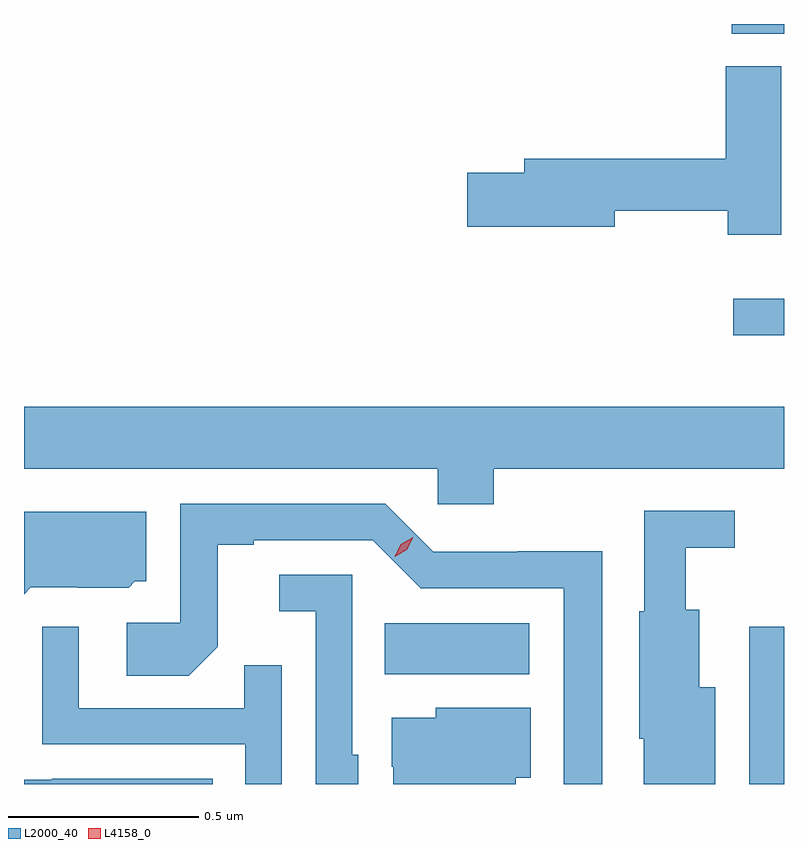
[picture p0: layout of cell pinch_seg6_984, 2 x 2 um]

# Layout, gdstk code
import gdstk
lib = gdstk.Library(unit=1e-6, precision=1e-09)
def R(c, l, rs):  # rectangles x0, y0, x1, y1
    for r in rs: c.add(gdstk.rectangle(r[:2], r[2:], *l))
def P(c, l, *ps):  # polygons
    for p in ps: c.add(gdstk.Polygon(p, *l))
L2000_40 = (2000, 40)
L4158_0 = (4158, 0)

pinch_seg6_984 = lib.new_cell('pinch_seg6_984')
R(pinch_seg6_984, L2000_40, [(330.357,925.195,330.449,925.609), (329.398,925.484,329.779,925.618), (330.315,926.376,330.449,926.472), (330.311,927.169,330.449,927.195)])
P(pinch_seg6_984, L2000_40, [(330.442,927.084),(330.296,927.084),(330.296,926.84),(329.765,926.84),(329.765,926.804),(329.616,926.804),(329.616,926.662),(330.004,926.662),(330.004,926.704),(330.301,926.704),(330.301,926.64),(330.442,926.64)],
  [(329.685,926.024),(330.449,926.024),(330.449,926.188),(328.449,926.188),(328.449,926.024),(329.538,926.024),(329.538,925.931),(329.685,925.931)],
  [(329.971,925.808),(329.748,925.808),(329.748,925.806),(329.526,925.806),(329.4,925.932),(328.86,925.932),(328.86,925.62),(328.719,925.62),(328.719,925.48),(328.883,925.48),(328.959,925.556),(328.959,925.824),(329.053,925.824),(329.053,925.836),(329.367,925.836),(329.493,925.71),(329.87,925.71),(329.87,925.195),(329.971,925.195)],
  [(330.268,925.45),(330.226,925.45),(330.226,925.654),(330.19,925.654),(330.19,925.817),(330.319,925.817),(330.319,925.914),(330.081,925.914),(330.081,925.65),(330.068,925.65),(330.068,925.314),(330.08,925.314),(330.08,925.195),(330.268,925.195)],
  [(328.467,925.713),(328.59,925.713),(328.59,925.712),(328.724,925.712),(328.74,925.728),(328.771,925.728),(328.771,925.912),(328.449,925.912),(328.449,925.695)],
  [(329.328,925.272),(329.313,925.272),(329.313,925.746),(329.121,925.746),(329.121,925.649),(329.217,925.649),(329.217,925.195),(329.328,925.195)],
  [(329.127,925.508),(329.029,925.508),(329.029,925.395),(328.593,925.395),(328.593,925.609),(328.497,925.609),(328.497,925.299),(329.031,925.299),(329.031,925.195),(329.127,925.195)],
  [(329.743,925.212),(329.782,925.212),(329.782,925.396),(329.532,925.396),(329.532,925.369),(329.417,925.369),(329.417,925.24),(329.421,925.24),(329.421,925.195),(329.743,925.195)],
  [(328.946,925.209),(328.522,925.209),(328.522,925.206),(328.449,925.206),(328.449,925.195),(328.946,925.195)])
P(pinch_seg6_984, L4158_0, [(329.424,925.793),(329.424,925.793),(329.441,925.826),(329.473,925.845),(329.473,925.845),(329.473,925.844),(329.456,925.812),(329.424,925.793)])

lib.write_gds('pinch_seg6_984.gds')
